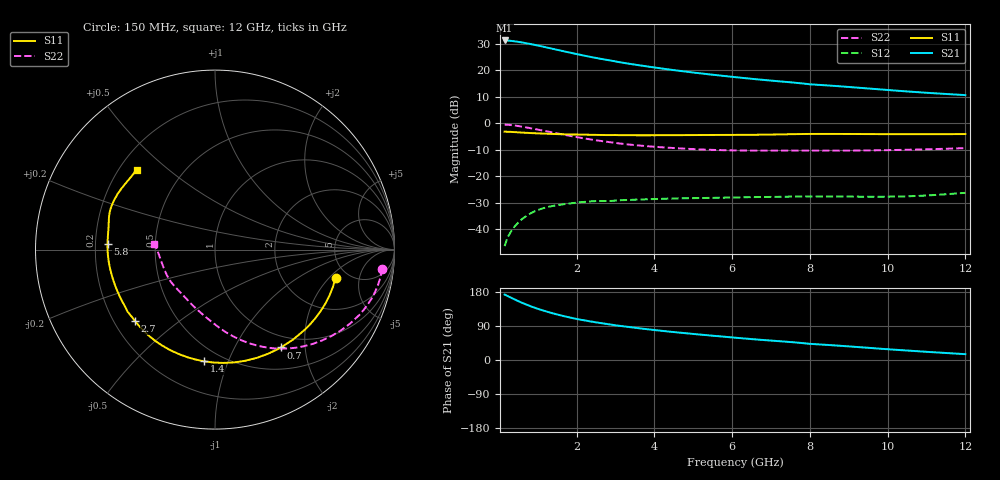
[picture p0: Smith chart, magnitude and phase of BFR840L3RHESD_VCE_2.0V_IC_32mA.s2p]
! Infineon Technologies  Discrete & RF Semiconductors
! BFR840L3RHESD
! VCE =  2.0 V,  IC =  32 mA
! Common Emitter S-Parameters:  Jun 2012
# GHz  S  MA  R  50
!  f  S11  S21  S12  S22
! GHz  MAG  ANG  MAG  ANG  MAG  ANG  MAG  ANG
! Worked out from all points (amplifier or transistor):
!   91 points, 150 MHz to 12 GHz, reference 50 ohm
!   highest |S21| = 31.2 dB at 150 MHz (marker M1)
!   |S21| within 3 dB of that: start of sweep to 1.34 GHz
!   unconditionally stable (mu >= 1): 6.089 GHz to end of sweep
!   at 1.3 GHz: K = 0.26, MSG = 29.9 dB, |S12| = -31.5 dB
!   at 4.3 GHz: K = 0.73, MSG = 24.4 dB, |S12| = -28.5 dB
!   at 12 GHz: K = 1.80, MAG = 13.2 dB, |S12| = -26.3 dB
!   S11 on the Smith chart (normalised r, x): 150 MHz: 3.95, -2.37; 700 MHz: 0.81, -1.56; 1.4 GHz: 0.40, -0.82; 2.7 GHz: 0.29, -0.36; 5.8 GHz: 0.25, +0.03; 12 GHz: 0.27, +0.39
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0.15  0.6896 -13.2  36.19 172.7  0.0048 76.6  0.9379 -6.5
0.3  0.6847 -25.8  35.61 165.1  0.0087 74.8  0.9224 -14.9
0.45  0.6744 -37.7  34.51 157.8  0.0122 69.6  0.8938 -22.1
0.6  0.6638 -49.0  33.15 150.9  0.0156 64.4  0.8582 -28.7
0.7  0.6574 -56.0  32.16 146.6  0.0176 61.2  0.8329 -32.8
0.9  0.6466 -69.0  30.11 138.8  0.0214 55.9  0.7816 -40.4
1  0.6418 -74.9  29.07 135.3  0.023 53.7  0.7566 -44.0
1.2  0.6331 -85.8  27.01 128.8  0.0256 49.8  0.7085 -50.5
1.4  0.6254 -95.6  25.05 122.9  0.0276 46.4  0.663 -56.4
1.6  0.619 -104.3  23.23 117.6  0.0291 43.4  0.6205 -61.7
1.8  0.614 -112.1  21.58 112.8  0.0305 40.8  0.5814 -66.6
2.2  0.6065 -125.3  18.73 104.6  0.0328 36.7  0.5153 -75.2
2.7  0.5972 -138.1  15.93 96.3  0.0341 33.2  0.4539 -84.0
3  0.5976 -144.8  14.58 91.6  0.0347 33.3  0.4247 -88.7
3.4  0.5915 -152.5  13.02 86.4  0.0358 30.3  0.3921 -94.8
4.2  0.5921 -164.6  10.7 76.9  0.0375 29.0  0.3506 -105.8
5.8  0.5996 176.9  7.742 61.4  0.0394 28.0  0.3091 -126.2
6.1  0.6007 174.0  7.343 58.7  0.0398 28.0  0.3063 -129.9
8  0.6256 157.2  5.4 42.6  0.0415 28.6  0.3033 -154.1
8.5  0.6261 153.8  5.114 39.5  0.0414 28.8  0.3032 -158.5
10.5  0.6188 141.0  3.96 25.0  0.0417 36.3  0.3151 -175.7
12  0.623 134.5  3.376 15.4  0.0486 42.8  0.3388 174.9
